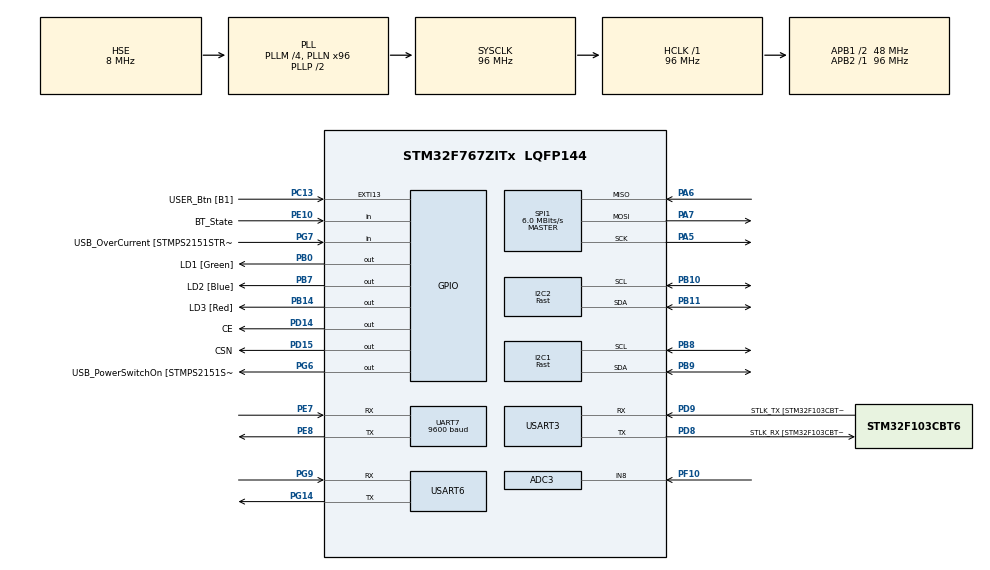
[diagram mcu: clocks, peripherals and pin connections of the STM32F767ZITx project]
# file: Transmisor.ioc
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ADC3.Channel-1\#ChannelRegularConversion=ADC_CHANNEL_8
ADC3.ContinuousConvMode=ENABLE
ADC3.NbrOfConversionFlag=1
ADC3.Rank-1\#ChannelRegularConversion=1
ADC3.SamplingTime-1\#ChannelRegularConversion=ADC_SAMPLETIME_3CYCLES
I2C1.I2C_Speed_Mode=I2C_Fast
I2C1.Timing=0x2010091A
I2C2.I2C_Speed_Mode=I2C_Fast
I2C2.Timing=0x2010091A
Mcu.Family=STM32F7
Mcu.Name=STM32F767ZITx
Mcu.Package=LQFP144
NVIC.PriorityGroup=NVIC_PRIORITYGROUP_4
NVIC.UART7_IRQn=true\:0\:0\:false\:false\:true\:true\:true
NVIC.USART6_IRQn=true\:0\:0\:false\:false\:true\:true\:true
PA1.GPIO_Label=RMII_REF_CLK [LAN8742A-CZ-TR_REFCLK0]
PA1.Signal=ETH_REF_CLK
PA10.GPIO_Label=USB_ID
PA10.Signal=USB_OTG_FS_ID
PA11.GPIO_Label=USB_DM
PA11.Signal=USB_OTG_FS_DM
PA12.GPIO_Label=USB_DP
PA12.Signal=USB_OTG_FS_DP
PA13.GPIO_Label=TMS
PA13.Mode=Serial_Wire
PA13.Signal=SYS_JTMS-SWDIO
PA14.GPIO_Label=TCK
PA14.Mode=Serial_Wire
PA14.Signal=SYS_JTCK-SWCLK
PA2.GPIO_Label=RMII_MDIO [LAN8742A-CZ-TR_MDIO]
PA2.Signal=ETH_MDIO
PA5.Mode=Full_Duplex_Master
PA5.Signal=SPI1_SCK
PA6.Mode=Full_Duplex_Master
PA6.Signal=SPI1_MISO
PA7.Mode=Full_Duplex_Master
PA7.Signal=SPI1_MOSI
PA8.GPIO_Label=USB_SOF [TP1]
PA8.Signal=USB_OTG_FS_SOF
PA9.GPIO_Label=USB_VBUS
PA9.Signal=USB_OTG_FS_VBUS
PB0.GPIO_Label=LD1 [Green]
PB0.Signal=GPIO_Output
PB10.Mode=I2C
PB10.Signal=I2C2_SCL
PB11.Mode=I2C
PB11.Signal=I2C2_SDA
PB13.GPIO_Label=RMII_TXD1 [LAN8742A-CZ-TR_TXD1]
PB13.Signal=ETH_TXD1
PB14.GPIO_Label=LD3 [Red]
PB14.Signal=GPIO_Output
PB3.GPIO_Label=SWO
PB3.Signal=SYS_JTDO-SWO
PB7.GPIO_Label=LD2 [Blue]
PB7.Signal=GPIO_Output
PB8.Mode=I2C
PB8.Signal=I2C1_SCL
PB9.Mode=I2C
PB9.Signal=I2C1_SDA
PC1.GPIO_Label=RMII_MDC [LAN8742A-CZ-TR_MDC]
PC1.Signal=ETH_MDC
PC13.GPIO_Label=USER_Btn [B1]
PC13.Signal=GPXTI13
PC14/OSC32_IN.Mode=LSE-External-Oscillator
PC14/OSC32_IN.Signal=RCC_OSC32_IN
PC15/OSC32_OUT.Mode=LSE-External-Oscillator
PC15/OSC32_OUT.Signal=RCC_OSC32_OUT
PC4.GPIO_Label=RMII_RXD0 [LAN8742A-CZ-TR_RXD0]
PC4.Signal=ETH_RXD0
PC5.GPIO_Label=RMII_RXD1 [LAN8742A-CZ-TR_RXD1]
PC5.Signal=ETH_RXD1
PD14.GPIO_Label=CE
PD14.Signal=GPIO_Output
PD15.GPIO_Label=CSN
PD15.Signal=GPIO_Output
PD8.GPIO_Label=STLK_RX [STM32F103CBT6_PA3]
PD8.Mode=Asynchronous
PD8.Signal=USART3_TX
PD9.GPIO_Label=STLK_TX [STM32F103CBT6_PA2]
PD9.Mode=Asynchronous
PD9.Signal=USART3_RX
PE10.GPIO_Label=BT_State
PE10.Signal=GPIO_Input
PE7.Mode=Asynchronous
PE7.Signal=UART7_RX
PE8.Mode=Asynchronous
PE8.Signal=UART7_TX
PF10.Mode=IN8
PF10.Signal=ADC3_IN8
PG11.GPIO_Label=RMII_TX_EN [LAN8742A-CZ-TR_TXEN]
PG11.Signal=ETH_TX_EN
PG13.GPIO_Label=RMII_TXD0 [LAN8742A-CZ-TR_TXD0]
PG13.Signal=ETH_TXD0
PG14.Mode=Asynchronous
PG14.Signal=USART6_TX
PG6.GPIO_Label=USB_PowerSwitchOn [STMPS2151STR_EN]
PG6.Signal=GPIO_Output
PG7.GPIO_Label=USB_OverCurrent [STMPS2151STR_FAULT]
PG7.Signal=GPIO_Input
PG9.Mode=Asynchronous
PG9.Signal=USART6_RX
PH0/OSC_IN.GPIO_Label=MCO [STM32F103CBT6_PA8]
PH0/OSC_IN.Mode=HSE-External-Clock-Source
PH0/OSC_IN.Signal=RCC_OSC_IN
PH1/OSC_OUT.Mode=HSE-External-Clock-Source
PH1/OSC_OUT.Signal=RCC_OSC_OUT
ProjectManager.HeapSize=0x200
ProjectManager.StackSize=0x400
ProjectManager.TargetToolchain=STM32CubeIDE
RCC.48MHZClocksFreq_Value=24000000
RCC.AHBFreq_Value=96000000
RCC.APB1CLKDivider=RCC_HCLK_DIV2
RCC.APB1Freq_Value=48000000
RCC.APB1TimFreq_Value=96000000
RCC.APB2Freq_Value=96000000
RCC.APB2TimFreq_Value=96000000
RCC.CortexFreq_Value=96000000
RCC.HCLKFreq_Value=96000000
RCC.HSE_VALUE=8000000
RCC.HSI_VALUE=16000000
RCC.PLLM=4
RCC.PLLMUL=RCC_PLL_MUL9
RCC.PLLN=96
RCC.PLLQ=4
RCC.PLLSourceVirtual=RCC_PLLSOURCE_HSE
RCC.PRESCALERUSB=RCC_USBCLKSOURCE_PLL_DIV1_5
RCC.SYSCLKFreq_VALUE=96000000
RCC.SYSCLKSource=RCC_SYSCLKSOURCE_PLLCLK
RCC.SYSCLKSourceVirtual=RCC_SYSCLKSOURCE_PLLCLK
RCC.USBFreq_Value=48000000
RCC.VCOOutputFreq_Value=192000000
SPI1.BaudRatePrescaler=SPI_BAUDRATEPRESCALER_16
SPI1.CalculateBaudRate=6.0 MBits/s
SPI1.DataSize=SPI_DATASIZE_8BIT
SPI1.Direction=SPI_DIRECTION_2LINES
SPI1.Mode=SPI_MODE_MASTER
SPI1.VirtualType=VM_MASTER
TIM1.Period=0xffff-1
TIM1.Prescaler=96-1
UART7.BaudRate=9600
USART3.VirtualMode-Asynchronous=VM_ASYNC
USART6.VirtualMode-Asynchronous=VM_ASYNC
VP_TIM1_VS_ClockSourceINT.Mode=Internal
board=NUCLEO-F767ZI

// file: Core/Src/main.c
/* USER CODE BEGIN Header */
/**
  ******************************************************************************
  * @file           : main.c
  * @brief          : Main program body
  ******************************************************************************
  * @attention
  *
  * <h2><center>&copy; Copyright (c) 2020 STMicroelectronics.
  * All rights reserved.</center></h2>
  *
  * This software component is licensed by ST under BSD 3-Clause license,
  * the "License"; You may not use this file except in compliance with the
  * License. You may obtain a copy of the License at:
  *                        opensource.org/licenses/BSD-3-Clause
  *
  ******************************************************************************
  */
/* USER CODE END Header */

#include "main.h"

/* USER CODE BEGIN Includes */
#include "MY_NRF24.h"
#include "i2c_lcd.h"
#include "gps.h"
#include "mpu6050.h"
#include "bmp280.h"
#include <string.h>
#include <stdio.h>
#include <stdlib.h>
/* USER CODE END Includes */

/* USER CODE BEGIN PD */
#define SEALEVELPRESSURE_HPA (1013.25)
/* USER CODE END PD */

ADC_HandleTypeDef hadc3;

I2C_HandleTypeDef hi2c1;
I2C_HandleTypeDef hi2c2;

SPI_HandleTypeDef hspi1;

TIM_HandleTypeDef htim1;

UART_HandleTypeDef huart7;
UART_HandleTypeDef huart3;
UART_HandleTypeDef huart6;

/* USER CODE BEGIN PV */

i2c_lcd lcd;
i2c_lcd_config lcd_config;
LCD_STATE lcd_ok;

gps gpsTx;
gps_config gpsTx_config;

MPU_HandleTypeDef accel;
MPU_config accel_config;
float angs[3], lastAngs[3];

BMP280_HandleTypedef bmp280;
float pressure, temperature, humidity, altitude;

uint32_t lastTimeLoop = 0, lastTimeShow = 0, lastTimeHeart = 0, lastTimeSend = 0, lastTimeShowParent = 0;

uint64_t addressTx = 0x11223344AA;

char message[1000], bufferConfig[10];
uint8_t size, nmroMsg = 1, numLine = 1;
uint16_t heart = 0;
int16_t heartRate = 0;
/* USER CODE END PV */

void SystemClock_Config(void);
static void MX_GPIO_Init(void);
static void MX_USART3_UART_Init(void);
static void MX_ADC3_Init(void);
static void MX_I2C1_Init(void);
static void MX_I2C2_Init(void);
static void MX_SPI1_Init(void);
static void MX_TIM1_Init(void);
static void MX_UART7_Init(void);
static void MX_USART6_UART_Init(void);

/* USER CODE BEGIN 0 */

void HAL_UART_RxCpltCallback(UART_HandleTypeDef *huart)
{

	if (huart->Instance == USART6){
		gps_callBack(&gpsTx);
	}
	if (huart->Instance == UART7){

		switch (bufferConfig[0]) {
			case 'u':
			    accel.config.offset_pitch -= 1;
				break;
			case 'x':
				accel.config.offset_pitch += 1;
				break;
			case 'd':
				accel.config.offset_pitch = angs[Angle_Pitch];
				break;
			case 'g':
				accel.config.offset_pitch = 0;
				break;
			case 'a':
				accel.config.offset_roll -= 1;
				break;
			case 'b':
				accel.config.offset_roll += 1;
				break;
			case 'f':
				accel.config.offset_roll = angs[Angle_Roll];
				break;
			case 'h':
				accel.config.offset_roll = 0;
				break;
			case 'c':
				gpsTx.config.gtm +=1;
				break;
			case 'e':
				gpsTx.config.gtm -=1;
				break;
			default:
				break;
		}

	}
}

bool isPressed(){
	bool ok = false;
	if(HAL_GPIO_ReadPin(USER_Btn_GPIO_Port, USER_Btn_Pin)==GPIO_PIN_SET){
		HAL_Delay(20);
		if(HAL_GPIO_ReadPin(USER_Btn_GPIO_Port, USER_Btn_Pin)==GPIO_PIN_SET){
			ok = true;
		}
	}
	return ok;
}
/* USER CODE END 0 */

int main(void)
{

  /* MCU Configuration--------------------------------------------------------*/

  /* Reset of all peripherals, Initializes the Flash interface and the Systick. */
  HAL_Init();

  /* Configure the system clock */
  SystemClock_Config();

  /* Initialize all configured peripherals */
  MX_GPIO_Init();
  MX_USART3_UART_Init();
  MX_ADC3_Init();
  MX_I2C1_Init();
  MX_I2C2_Init();
  MX_SPI1_Init();
  MX_TIM1_Init();
  MX_UART7_Init();
  MX_USART6_UART_Init();
  /* USER CODE BEGIN 2 */

  //---------------Initialization the Antenna--------------------//

  NRF24_begin(CSN_GPIO_Port, CSN_Pin, CE_Pin, hspi1);

  NRF24_stopListening();				//For we can change the Antenna configurations we must to stop listening
  NRF24_openWritingPipe(addressTx);		//Change the Pipe Address Transmitter
  NRF24_setAutoAck(true);				//Enable the Antenna Auto Ack
  NRF24_setChannel(52);					//Setting the transmitter channel, it can take values from 0 to 124
  NRF24_setPayloadSize(32);				//Setting the sent message size
  NRF24_setDataRate(RF24_250KBPS);		//Change the data rate of data...250 Kbps, 1Mbps or 2Mbps

  NRF24_enableDynamicPayloads();
  NRF24_enableAckPayload();

  //-----------------------------------------------------------//

  //---------------Initialization the GPS-----------------------//

  {
	  gpsTx_config.gtm = -4;			//Here we can change the time zone
	  gpsTx_config.uart = &huart6;		//We are choosing the UART6 interface
  }

  gps_init(&gpsTx, &gpsTx_config);      //Initialization the GPS component

  //-----------------------------------------------------------//

  //---------------Initialization the LCD-----------------------//

  {
	  lcd_config.addres = 0x27;			//Set the lcd address
	  lcd_config.cols = 8;				//Set the number of columns on the lcd
	  lcd_config.rows = 4;				//Set the number of rows on the lcd
	  lcd_config.i2c = &hi2c2;			//Set I2C interface
	  lcd_config.mode = 1;				//Set mode LCD
	  lcd_config.timeout = 10;			//TimeOut I2C Interface
  }
  if (i2c_lcd_init(&lcd, &lcd_config) == LCD_OK){				//Init the LCD
	  HAL_GPIO_WritePin(LD1_GPIO_Port, LD1_Pin, GPIO_PIN_SET);
	  lcd_ok = LCD_OK;
  }
  else{
	  lcd_ok = LCD_ERROR;
  }

  //-----------------------------------------------------------//

  //---------------Initialization the Accelerometer-----------------------//

  {
  	  accel_config.addres = 0x68;				//Setting the accelerometer address
  	  accel_config.i2c = &hi2c2;				//Set I2C interface
  	  accel_config.accel_range = AFS_SEL_2G;	//Setting the accelerometer range
  	  accel_config.gyro_range = FS_SEL_250;		//Setting the gyroscope range
  	  accel_config.clksel = CLK_PLL_XGYRO;		//Setting the mpu clock
  	  accel_config.timeout = 100;				//Timeout I2C interface
  	  accel_config.offset_pitch = 0;			//Pitch Angle Offset
  	  accel_config.offset_roll = 0;				//Roll Angle Offset
  }

  if(mpu_init(&accel, &accel_config)==MPU_OK){
  	  HAL_GPIO_WritePin(LD2_GPIO_Port, LD2_Pin, GPIO_PIN_SET);
  }

  //-----------------------------------------------------------//

  //---------------Initialization the BMP280--------------------//

  {
	  bmp280_init_default_params(&bmp280.params);	//Setting the bmp280 default configurations
	  bmp280.addr = BMP280_I2C_ADDRESS_0;			//Set bmp280 I2C address
   	  bmp280.i2c = &hi2c2;							//Choosing I2C interface
  }

  if (bmp280_init(&bmp280, &bmp280.params)) {		//Init BMP280
	  HAL_GPIO_WritePin(LD3_GPIO_Port, LD3_Pin, GPIO_PIN_SET);
  }

  //-----------------------------------------------------------//

  /* USER CODE END 2 */

  /* Infinite loop */
  /* USER CODE BEGIN WHILE */
  while (1)
  {

	  //--------------------MAIN LOOP, DATA MEASUREMENT---------------//

	  if ( HAL_GetTick()-lastTimeLoop > 1 ){

		  gps_process(&gpsTx);
		  mpu_get_angles(&accel, lastAngs, angs, (HAL_GetTick()-lastTimeLoop)/1000);
		  bmp280_read_float(&bmp280, &temperature, &pressure, &humidity);
		  altitude = readAltitude(SEALEVELPRESSURE_HPA, pressure);
		  HAL_UART_Receive_IT(&huart7, (uint8_t*) bufferConfig, 1);

		  lastTimeLoop = HAL_GetTick();

	  }

	  //----------------------TAKING HEART DATA-----------------------//

	  if ( HAL_GetTick()-lastTimeHeart > 1 ){

		  HAL_ADC_Start(&hadc3);
		  if(HAL_ADC_PollForConversion(&hadc3, 10)==HAL_OK){
			  heart = HAL_ADC_GetValue(&hadc3);
			  size = sprintf(message, "%i\r\n", heart);
			  HAL_UART_Transmit(&huart3, (uint8_t*) message, size, 100);
		  }

		  lastTimeHeart = HAL_GetTick();

	  }

	  //----------------------------------PACKING - SEND DATA--------------------------------------//

	  if( HAL_GetTick()-lastTimeSend > 10 ){

		  if(nmroMsg == 1){

			  sprintf(message, "%3i,%3.0f,%3.0f,%2.0f,%6.0f,%2.0f,%4.0f,%2.0f", heartRate, angs[Angle_Pitch], angs[Angle_Roll],
																				temperature, pressure, humidity,
																				altitude, gpsTx.data.velocity);
			  NRF24_write(message, 32);
			  nmroMsg = 2;
		  }
		  else{
			  sprintf(message, "$%3.11f,%3.11f", gpsTx.data.latitudDec, gpsTx.data.longitudDec);

			  NRF24_write(message, 32);
			  nmroMsg = 1;
		  }

		  lastTimeSend = HAL_GetTick();

	  }

	  //-------------------------------SHOW DATA IN LCD------------------------------//

	  if ( HAL_GetTick()-lastTimeShowParent > 103 ){

		  if ( lcd_ok == LCD_OK && HAL_GetTick()-lastTimeShow > 0 && HAL_GetTick()-lastTimeShow < 10000){
			  if (numLine == 1){
				  i2c_lcd_setCursor(&lcd, 0, 0);
				  size = sprintf(message, "%2i:%2i:%2i  A:%4.0f", gpsTx.data.hour, gpsTx.data.min, gpsTx.data.sec, altitude);
				  i2c_lcd_print(&lcd, message, size);
				  numLine = 2;
			  }
			  else if (numLine == 2){
				  i2c_lcd_setCursor(&lcd, 0, 1);
				  size = sprintf(message, "Pr:%6.0f Hum:%2.0f", pressure, humidity);
				  i2c_lcd_print(&lcd, message, size);
				  numLine = 3;
			  }
			  else if (numLine == 3){
				  i2c_lcd_setCursor(&lcd, 0, 2);
				  size = sprintf(message, "Vel:%2.0f  Temp: %2.0f", gpsTx.data.velocity, temperature);
				  i2c_lcd_print(&lcd, message, size);
				  numLine = 4;
			  }
			  else{
				  i2c_lcd_setCursor(&lcd, 0, 3);
				  size = sprintf(message, "  P:%3.0f R:%3.0f   ", angs[Angle_Pitch], angs[Angle_Roll]);
				  i2c_lcd_print(&lcd, message, size);
				  numLine = 1;
			  }
		  }
		  else if ( lcd_ok == LCD_OK && HAL_GetTick()-lastTimeShow > 10000 && HAL_GetTick()-lastTimeShow < 15000){
			  if (numLine == 1){
				  i2c_lcd_setCursor(&lcd, 0, 0);
				  size = sprintf(message, " %2d - %2d - %4d ", gpsTx.data.day, gpsTx.data.month, gpsTx.data.year);
				  i2c_lcd_print(&lcd, message, size);
				  numLine = 2;
			  }
			  else if (numLine == 2){
				  i2c_lcd_setCursor(&lcd, 0, 1);
				  size = sprintf(message, "                ");
				  i2c_lcd_print(&lcd, message, size);
				  numLine = 3;
			  }
			  else if (numLine == 3){
				  i2c_lcd_setCursor(&lcd, 0, 2);
				  size = sprintf(message, "%3.12f", gpsTx.data.latitudDec);
				  i2c_lcd_print(&lcd, message, size);
				  numLine = 4;
			  }
			  else{
				  i2c_lcd_setCursor(&lcd, 0, 3);
				  size = sprintf(message, "%3.12f", gpsTx.data.longitudDec);
				  i2c_lcd_print(&lcd, message, size);
				  numLine = 1;
			  }
		  }
		  else{
			  lastTimeShow = HAL_GetTick();
		  }

		  if ( HAL_GPIO_ReadPin(BT_State_GPIO_Port, BT_State_Pin) == GPIO_PIN_SET ){

			  size = sprintf(message, "*T%0.0f* *H%0.0f* *A%0.0f* "
	  	  	  	  	  	  	  	  	  "*P%0.0f* *R%0.0f* "
					  	  	  	  	  "*V%0.0f* *Z%d* *L%0.10f* *X%0.10f*\r\n",
									  temperature, humidity, altitude,
									  angs[Angle_Pitch], angs[Angle_Roll],
									  gpsTx.data.velocity, gpsTx.config.gtm, gpsTx.data.latitudDec, gpsTx.data.longitudDec);

			  HAL_UART_Transmit(&huart7, (uint8_t*) message, size, 150);

		  }

		  lastTimeShowParent = HAL_GetTick();

	  }

	  //--------------FUNCTION PRESS BUTTON FOR SET OFFSET ANGLES (PITCH AND ROLL)------------//

	  if(isPressed()){

		  uint32_t lastTime = HAL_GetTick();
		  while(HAL_GPIO_ReadPin(USER_Btn_GPIO_Port, USER_Btn_Pin)==GPIO_PIN_SET);
		  if (HAL_GetTick()-lastTime < 1000 ){
			  accel.config.offset_pitch = angs[Angle_Pitch];
			  accel.config.offset_roll = angs[Angle_Roll];
		  }
		  else{
			  accel.config.offset_pitch = 0;
			  accel.config.offset_roll = 0;
		  }

	  }

    /* USER CODE END WHILE */

  }
}

void SystemClock_Config(void)
{
  RCC_OscInitTypeDef RCC_OscInitStruct = {0};
  RCC_ClkInitTypeDef RCC_ClkInitStruct = {0};
  RCC_PeriphCLKInitTypeDef PeriphClkInitStruct = {0};

  /** Configure LSE Drive Capability
  */
  HAL_PWR_EnableBkUpAccess();
  /** Configure the main internal regulator output voltage
  */
  __HAL_RCC_PWR_CLK_ENABLE();
  __HAL_PWR_VOLTAGESCALING_CONFIG(PWR_REGULATOR_VOLTAGE_SCALE3);
  /** Initializes the CPU, AHB and APB busses clocks
  */
  RCC_OscInitStruct.OscillatorType = RCC_OSCILLATORTYPE_HSE;
  RCC_OscInitStruct.HSEState = RCC_HSE_BYPASS;
  RCC_OscInitStruct.PLL.PLLState = RCC_PLL_ON;
  RCC_OscInitStruct.PLL.PLLSource = RCC_PLLSOURCE_HSE;
  RCC_OscInitStruct.PLL.PLLM = 4;
  RCC_OscInitStruct.PLL.PLLN = 96;
  RCC_OscInitStruct.PLL.PLLP = RCC_PLLP_DIV2;
  RCC_OscInitStruct.PLL.PLLQ = 4;
  if (HAL_RCC_OscConfig(&RCC_OscInitStruct) != HAL_OK)
  {
    Error_Handler();
  }
  /** Activate the Over-Drive mode
  */
  if (HAL_PWREx_EnableOverDrive() != HAL_OK)
  {
    Error_Handler();
  }
  /** Initializes the CPU, AHB and APB busses clocks
  */
  RCC_ClkInitStruct.ClockType = RCC_CLOCKTYPE_HCLK|RCC_CLOCKTYPE_SYSCLK
                              |RCC_CLOCKTYPE_PCLK1|RCC_CLOCKTYPE_PCLK2;
  RCC_ClkInitStruct.SYSCLKSource = RCC_SYSCLKSOURCE_PLLCLK;
  RCC_ClkInitStruct.AHBCLKDivider = RCC_SYSCLK_DIV1;
  RCC_ClkInitStruct.APB1CLKDivider = RCC_HCLK_DIV2;
  RCC_ClkInitStruct.APB2CLKDivider = RCC_HCLK_DIV1;

  if (HAL_RCC_ClockConfig(&RCC_ClkInitStruct, FLASH_LATENCY_3) != HAL_OK)
  {
    Error_Handler();
  }
  PeriphClkInitStruct.PeriphClockSelection = RCC_PERIPHCLK_USART3|RCC_PERIPHCLK_USART6
                              |RCC_PERIPHCLK_UART7|RCC_PERIPHCLK_I2C1
                              |RCC_PERIPHCLK_I2C2;
  PeriphClkInitStruct.Usart3ClockSelection = RCC_USART3CLKSOURCE_PCLK1;
  PeriphClkInitStruct.Usart6ClockSelection = RCC_USART6CLKSOURCE_PCLK2;
  PeriphClkInitStruct.Uart7ClockSelection = RCC_UART7CLKSOURCE_PCLK1;
  PeriphClkInitStruct.I2c1ClockSelection = RCC_I2C1CLKSOURCE_PCLK1;
  PeriphClkInitStruct.I2c2ClockSelection = RCC_I2C2CLKSOURCE_PCLK1;
  if (HAL_RCCEx_PeriphCLKConfig(&PeriphClkInitStruct) != HAL_OK)
  {
    Error_Handler();
  }
}

static void MX_ADC3_Init(void)
{

  ADC_ChannelConfTypeDef sConfig = {0};

  /** Configure the global features of the ADC (Clock, Resolution, Data Alignment and number of conversion)
  */
  hadc3.Instance = ADC3;
  hadc3.Init.ClockPrescaler = ADC_CLOCK_SYNC_PCLK_DIV4;
  hadc3.Init.Resolution = ADC_RESOLUTION_12B;
  hadc3.Init.ScanConvMode = ADC_SCAN_DISABLE;
  hadc3.Init.ContinuousConvMode = ENABLE;
  hadc3.Init.DiscontinuousConvMode = DISABLE;
  hadc3.Init.ExternalTrigConvEdge = ADC_EXTERNALTRIGCONVEDGE_NONE;
  hadc3.Init.ExternalTrigConv = ADC_SOFTWARE_START;
  hadc3.Init.DataAlign = ADC_DATAALIGN_RIGHT;
  hadc3.Init.NbrOfConversion = 1;
  hadc3.Init.DMAContinuousRequests = DISABLE;
  hadc3.Init.EOCSelection = ADC_EOC_SINGLE_CONV;
  if (HAL_ADC_Init(&hadc3) != HAL_OK)
  {
    Error_Handler();
  }
  /** Configure for the selected ADC regular channel its corresponding rank in the sequencer and its sample time.
  */
  sConfig.Channel = ADC_CHANNEL_8;
  sConfig.Rank = ADC_REGULAR_RANK_1;
  sConfig.SamplingTime = ADC_SAMPLETIME_3CYCLES;
  if (HAL_ADC_ConfigChannel(&hadc3, &sConfig) != HAL_OK)
  {
    Error_Handler();
  }

}

static void MX_I2C1_Init(void)
{

  hi2c1.Instance = I2C1;
  hi2c1.Init.Timing = 0x2010091A;
  hi2c1.Init.OwnAddress1 = 0;
  hi2c1.Init.AddressingMode = I2C_ADDRESSINGMODE_7BIT;
  hi2c1.Init.DualAddressMode = I2C_DUALADDRESS_DISABLE;
  hi2c1.Init.OwnAddress2 = 0;
  hi2c1.Init.OwnAddress2Masks = I2C_OA2_NOMASK;
  hi2c1.Init.GeneralCallMode = I2C_GENERALCALL_DISABLE;
  hi2c1.Init.NoStretchMode = I2C_NOSTRETCH_DISABLE;
  if (HAL_I2C_Init(&hi2c1) != HAL_OK)
  {
    Error_Handler();
  }
  /** Configure Analogue filter
  */
  if (HAL_I2CEx_ConfigAnalogFilter(&hi2c1, I2C_ANALOGFILTER_ENABLE) != HAL_OK)
  {
    Error_Handler();
  }
  /** Configure Digital filter
  */
  if (HAL_I2CEx_ConfigDigitalFilter(&hi2c1, 0) != HAL_OK)
  {
    Error_Handler();
  }

}

static void MX_I2C2_Init(void)
{

  hi2c2.Instance = I2C2;
  hi2c2.Init.Timing = 0x2010091A;
  hi2c2.Init.OwnAddress1 = 0;
  hi2c2.Init.AddressingMode = I2C_ADDRESSINGMODE_7BIT;
  hi2c2.Init.DualAddressMode = I2C_DUALADDRESS_DISABLE;
  hi2c2.Init.OwnAddress2 = 0;
  hi2c2.Init.OwnAddress2Masks = I2C_OA2_NOMASK;
  hi2c2.Init.GeneralCallMode = I2C_GENERALCALL_DISABLE;
  hi2c2.Init.NoStretchMode = I2C_NOSTRETCH_DISABLE;
  if (HAL_I2C_Init(&hi2c2) != HAL_OK)
  {
    Error_Handler();
  }
  /** Configure Analogue filter
  */
  if (HAL_I2CEx_ConfigAnalogFilter(&hi2c2, I2C_ANALOGFILTER_ENABLE) != HAL_OK)
  {
    Error_Handler();
  }
  /** Configure Digital filter
  */
  if (HAL_I2CEx_ConfigDigitalFilter(&hi2c2, 0) != HAL_OK)
  {
    Error_Handler();
  }

}

static void MX_SPI1_Init(void)
{

  /* SPI1 parameter configuration*/
  hspi1.Instance = SPI1;
  hspi1.Init.Mode = SPI_MODE_MASTER;
  hspi1.Init.Direction = SPI_DIRECTION_2LINES;
  hspi1.Init.DataSize = SPI_DATASIZE_8BIT;
  hspi1.Init.CLKPolarity = SPI_POLARITY_LOW;
  hspi1.Init.CLKPhase = SPI_PHASE_1EDGE;
  hspi1.Init.NSS = SPI_NSS_SOFT;
  hspi1.Init.BaudRatePrescaler = SPI_BAUDRATEPRESCALER_16;
  hspi1.Init.FirstBit = SPI_FIRSTBIT_MSB;
  hspi1.Init.TIMode = SPI_TIMODE_DISABLE;
  hspi1.Init.CRCCalculation = SPI_CRCCALCULATION_DISABLE;
  hspi1.Init.CRCPolynomial = 7;
  hspi1.Init.CRCLength = SPI_CRC_LENGTH_DATASIZE;
  hspi1.Init.NSSPMode = SPI_NSS_PULSE_ENABLE;
  if (HAL_SPI_Init(&hspi1) != HAL_OK)
  {
    Error_Handler();
  }

}

static void MX_TIM1_Init(void)
{

  TIM_ClockConfigTypeDef sClockSourceConfig = {0};
  TIM_MasterConfigTypeDef sMasterConfig = {0};

  htim1.Instance = TIM1;
  htim1.Init.Prescaler = 96-1;
  htim1.Init.CounterMode = TIM_COUNTERMODE_UP;
  htim1.Init.Period = 0xffff-1;
  htim1.Init.ClockDivision = TIM_CLOCKDIVISION_DIV1;
  htim1.Init.RepetitionCounter = 0;
  htim1.Init.AutoReloadPreload = TIM_AUTORELOAD_PRELOAD_DISABLE;
  if (HAL_TIM_Base_Init(&htim1) != HAL_OK)
  {
    Error_Handler();
  }
  sClockSourceConfig.ClockSource = TIM_CLOCKSOURCE_INTERNAL;
  if (HAL_TIM_ConfigClockSource(&htim1, &sClockSourceConfig) != HAL_OK)
  {
    Error_Handler();
  }
  sMasterConfig.MasterOutputTrigger = TIM_TRGO_RESET;
  sMasterConfig.MasterOutputTrigger2 = TIM_TRGO2_RESET;
  sMasterConfig.MasterSlaveMode = TIM_MASTERSLAVEMODE_DISABLE;
  if (HAL_TIMEx_MasterConfigSynchronization(&htim1, &sMasterConfig) != HAL_OK)
  {
    Error_Handler();
  }

}

static void MX_UART7_Init(void)
{

  huart7.Instance = UART7;
  huart7.Init.BaudRate = 9600;
  huart7.Init.WordLength = UART_WORDLENGTH_8B;
  huart7.Init.StopBits = UART_STOPBITS_1;
  huart7.Init.Parity = UART_PARITY_NONE;
  huart7.Init.Mode = UART_MODE_TX_RX;
  huart7.Init.HwFlowCtl = UART_HWCONTROL_NONE;
  huart7.Init.OverSampling = UART_OVERSAMPLING_16;
  huart7.Init.OneBitSampling = UART_ONE_BIT_SAMPLE_DISABLE;
  huart7.AdvancedInit.AdvFeatureInit = UART_ADVFEATURE_NO_INIT;
  if (HAL_UART_Init(&huart7) != HAL_OK)
  {
    Error_Handler();
  }

}

static void MX_USART3_UART_Init(void)
{

  huart3.Instance = USART3;
  huart3.Init.BaudRate = 115200;
  huart3.Init.WordLength = UART_WORDLENGTH_8B;
  huart3.Init.StopBits = UART_STOPBITS_1;
  huart3.Init.Parity = UART_PARITY_NONE;
  huart3.Init.Mode = UART_MODE_TX_RX;
  huart3.Init.HwFlowCtl = UART_HWCONTROL_NONE;
  huart3.Init.OverSampling = UART_OVERSAMPLING_16;
  huart3.Init.OneBitSampling = UART_ONE_BIT_SAMPLE_DISABLE;
  huart3.AdvancedInit.AdvFeatureInit = UART_ADVFEATURE_NO_INIT;
  if (HAL_UART_Init(&huart3) != HAL_OK)
  {
    Error_Handler();
  }

}

static void MX_USART6_UART_Init(void)
{

  huart6.Instance = USART6;
  huart6.Init.BaudRate = 115200;
  huart6.Init.WordLength = UART_WORDLENGTH_8B;
  huart6.Init.StopBits = UART_STOPBITS_1;
  huart6.Init.Parity = UART_PARITY_NONE;
  huart6.Init.Mode = UART_MODE_TX_RX;
  huart6.Init.HwFlowCtl = UART_HWCONTROL_NONE;
  huart6.Init.OverSampling = UART_OVERSAMPLING_16;
  huart6.Init.OneBitSampling = UART_ONE_BIT_SAMPLE_DISABLE;
  huart6.AdvancedInit.AdvFeatureInit = UART_ADVFEATURE_NO_INIT;
  if (HAL_UART_Init(&huart6) != HAL_OK)
  {
    Error_Handler();
  }

}

static void MX_GPIO_Init(void)
{
  GPIO_InitTypeDef GPIO_InitStruct = {0};

  /* GPIO Ports Clock Enable */
  __HAL_RCC_GPIOC_CLK_ENABLE();
  __HAL_RCC_GPIOF_CLK_ENABLE();
  __HAL_RCC_GPIOH_CLK_ENABLE();
  __HAL_RCC_GPIOA_CLK_ENABLE();
  __HAL_RCC_GPIOB_CLK_ENABLE();
  __HAL_RCC_GPIOE_CLK_ENABLE();
  __HAL_RCC_GPIOD_CLK_ENABLE();
  __HAL_RCC_GPIOG_CLK_ENABLE();

  /*Configure GPIO pin Output Level */
  HAL_GPIO_WritePin(GPIOB, LD1_Pin|LD3_Pin|LD2_Pin, GPIO_PIN_RESET);

  /*Configure GPIO pin Output Level */
  HAL_GPIO_WritePin(GPIOD, CE_Pin|CSN_Pin, GPIO_PIN_RESET);

  /*Configure GPIO pin Output Level */
  HAL_GPIO_WritePin(USB_PowerSwitchOn_GPIO_Port, USB_PowerSwitchOn_Pin, GPIO_PIN_RESET);

  /*Configure GPIO pin : USER_Btn_Pin */
  GPIO_InitStruct.Pin = USER_Btn_Pin;
  GPIO_InitStruct.Mode = GPIO_MODE_IT_RISING;
  GPIO_InitStruct.Pull = GPIO_NOPULL;
  HAL_GPIO_Init(USER_Btn_GPIO_Port, &GPIO_InitStruct);

  /*Configure GPIO pins : RMII_MDC_Pin RMII_RXD0_Pin RMII_RXD1_Pin */
  GPIO_InitStruct.Pin = RMII_MDC_Pin|RMII_RXD0_Pin|RMII_RXD1_Pin;
  GPIO_InitStruct.Mode = GPIO_MODE_AF_PP;
  GPIO_InitStruct.Pull = GPIO_NOPULL;
  GPIO_InitStruct.Speed = GPIO_SPEED_FREQ_VERY_HIGH;
  GPIO_InitStruct.Alternate = GPIO_AF11_ETH;
  HAL_GPIO_Init(GPIOC, &GPIO_InitStruct);

  /*Configure GPIO pins : RMII_REF_CLK_Pin RMII_MDIO_Pin */
  GPIO_InitStruct.Pin = RMII_REF_CLK_Pin|RMII_MDIO_Pin;
  GPIO_InitStruct.Mode = GPIO_MODE_AF_PP;
  GPIO_InitStruct.Pull = GPIO_NOPULL;
  GPIO_InitStruct.Speed = GPIO_SPEED_FREQ_VERY_HIGH;
  GPIO_InitStruct.Alternate = GPIO_AF11_ETH;
  HAL_GPIO_Init(GPIOA, &GPIO_InitStruct);

  /*Configure GPIO pins : LD1_Pin LD3_Pin LD2_Pin */
  GPIO_InitStruct.Pin = LD1_Pin|LD3_Pin|LD2_Pin;
  GPIO_InitStruct.Mode = GPIO_MODE_OUTPUT_PP;
  GPIO_InitStruct.Pull = GPIO_NOPULL;
  GPIO_InitStruct.Speed = GPIO_SPEED_FREQ_LOW;
  HAL_GPIO_Init(GPIOB, &GPIO_InitStruct);

  /*Configure GPIO pin : BT_State_Pin */
  GPIO_InitStruct.Pin = BT_State_Pin;
  GPIO_InitStruct.Mode = GPIO_MODE_INPUT;
  GPIO_InitStruct.Pull = GPIO_NOPULL;
  HAL_GPIO_Init(BT_State_GPIO_Port, &GPIO_InitStruct);

  /*Configure GPIO pin : RMII_TXD1_Pin */
  GPIO_InitStruct.Pin = RMII_TXD1_Pin;
  GPIO_InitStruct.Mode = GPIO_MODE_AF_PP;
  GPIO_InitStruct.Pull = GPIO_NOPULL;
  GPIO_InitStruct.Speed = GPIO_SPEED_FREQ_VERY_HIGH;
  GPIO_InitStruct.Alternate = GPIO_AF11_ETH;
  HAL_GPIO_Init(RMII_TXD1_GPIO_Port, &GPIO_InitStruct);

  /*Configure GPIO pins : CE_Pin CSN_Pin */
  GPIO_InitStruct.Pin = CE_Pin|CSN_Pin;
  GPIO_InitStruct.Mode = GPIO_MODE_OUTPUT_PP;
  GPIO_InitStruct.Pull = GPIO_NOPULL;
  GPIO_InitStruct.Speed = GPIO_SPEED_FREQ_LOW;
  HAL_GPIO_Init(GPIOD, &GPIO_InitStruct);

  /*Configure GPIO pin : USB_PowerSwitchOn_Pin */
  GPIO_InitStruct.Pin = USB_PowerSwitchOn_Pin;
  GPIO_InitStruct.Mode = GPIO_MODE_OUTPUT_PP;
  GPIO_InitStruct.Pull = GPIO_NOPULL;
  GPIO_InitStruct.Speed = GPIO_SPEED_FREQ_LOW;
  HAL_GPIO_Init(USB_PowerSwitchOn_GPIO_Port, &GPIO_InitStruct);

  /*Configure GPIO pin : USB_OverCurrent_Pin */
  GPIO_InitStruct.Pin = USB_OverCurrent_Pin;
  GPIO_InitStruct.Mode = GPIO_MODE_INPUT;
  GPIO_InitStruct.Pull = GPIO_NOPULL;
  HAL_GPIO_Init(USB_OverCurrent_GPIO_Port, &GPIO_InitStruct);

  /*Configure GPIO pins : USB_SOF_Pin USB_ID_Pin USB_DM_Pin USB_DP_Pin */
  GPIO_InitStruct.Pin = USB_SOF_Pin|USB_ID_Pin|USB_DM_Pin|USB_DP_Pin;
  GPIO_InitStruct.Mode = GPIO_MODE_AF_PP;
  GPIO_InitStruct.Pull = GPIO_NOPULL;
  GPIO_InitStruct.Speed = GPIO_SPEED_FREQ_VERY_HIGH;
  GPIO_InitStruct.Alternate = GPIO_AF10_OTG_FS;
  HAL_GPIO_Init(GPIOA, &GPIO_InitStruct);

  /*Configure GPIO pin : USB_VBUS_Pin */
  GPIO_InitStruct.Pin = USB_VBUS_Pin;
  GPIO_InitStruct.Mode = GPIO_MODE_INPUT;
  GPIO_InitStruct.Pull = GPIO_NOPULL;
  HAL_GPIO_Init(USB_VBUS_GPIO_Port, &GPIO_InitStruct);

  /*Configure GPIO pins : RMII_TX_EN_Pin RMII_TXD0_Pin */
  GPIO_InitStruct.Pin = RMII_TX_EN_Pin|RMII_TXD0_Pin;
  GPIO_InitStruct.Mode = GPIO_MODE_AF_PP;
  GPIO_InitStruct.Pull = GPIO_NOPULL;
  GPIO_InitStruct.Speed = GPIO_SPEED_FREQ_VERY_HIGH;
  GPIO_InitStruct.Alternate = GPIO_AF11_ETH;
  HAL_GPIO_Init(GPIOG, &GPIO_InitStruct);

}

void Error_Handler(void)
{
}

/************************ (C) COPYRIGHT STMicroelectronics *****END OF FILE****/
